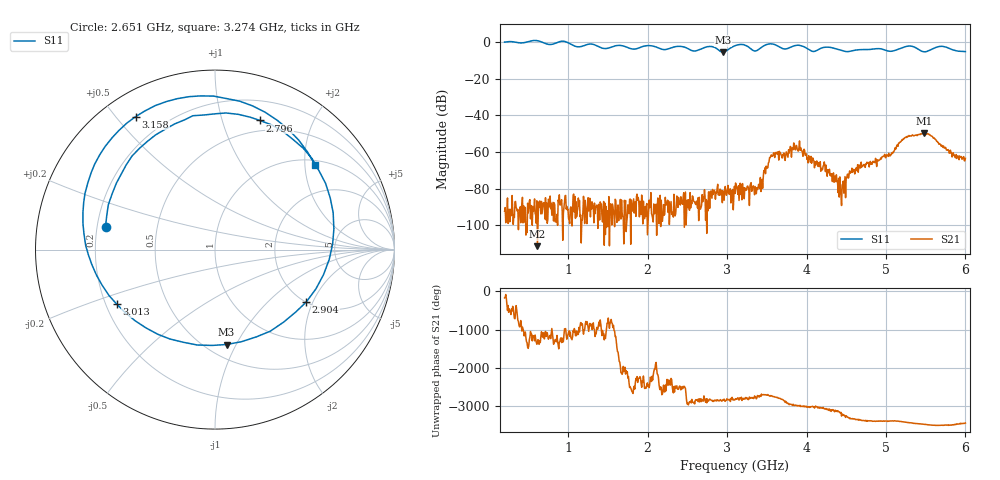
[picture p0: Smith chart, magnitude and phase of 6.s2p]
! NanoVNA-App
! Date: 2024-06-25 16:10:47
! Start: 200MHz Stop: 6GHz Points: 801
! S-Parameter data: F S11 S21 S12 S22
# Hz S RI R 50
!  Frequency  S11_Real  S11_Imag  S21_Real  S21_Imag  S12_Real  S12_Imag  S22_Real  S22_Imag
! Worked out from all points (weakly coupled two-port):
!   801 points, 200 MHz to 6 GHz, reference 50 ohm
!   highest |S21| = -49.66 dB at 5.485 GHz (marker M1); lowest = -111.5 dB at 613.2 MHz (marker M2)
!   lowest |S11| = -5.5 dB at 2.948 GHz (marker M3), VSWR 3.28, Z = 31 - j45.8 ohm
!   |S11| at or under -10 dB: nowhere
!   S12 and S22 are empty: the file has one direction only
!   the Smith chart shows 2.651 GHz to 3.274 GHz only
!   S11 on the Smith chart (normalised r, x): 2.651 GHz: 0.23, +0.10; 2.796 GHz: 0.39, +1.33; 2.904 GHz: 2.01, -1.79; 3.013 GHz: 0.24, -0.24; 3.158 GHz: 0.10, +0.56; 3.274 GHz: 1.13, +2.26
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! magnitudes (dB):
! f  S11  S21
! 200 MHz  0.0  -92.4
! 613.2 MHz  0.8  -111.5
! 1.171 GHz  -2.3  -97.0
! 2.136 GHz  -3.1  -87.6
! 2.651 GHz  -4.1  -84.7
! 2.796 GHz  -2.4  -81.3
! 2.904 GHz  -4.6  -83.7
! 2.948 GHz  -5.5  -81.2
! 3.013 GHz  -4.1  -78.3
! 3.1 GHz  -1.9  -82.7
! 3.158 GHz  -1.3  -81.3
! 3.274 GHz  -2.7  -80.9
! 3.419 GHz  -3.3  -74.0
! 3.615 GHz  -1.6  -61.2
! 3.897 GHz  -1.7  -59.5
! 4.072 GHz  -5.0  -64.3
! 4.441 GHz  -4.6  -89.3
! 4.572 GHz  -4.7  -68.9
! 5.036 GHz  -4.9  -60.7
! 5.246 GHz  -2.4  -52.0
! 5.485 GHz  -5.3  -49.7
! 6 GHz  -5.1  -63.5
